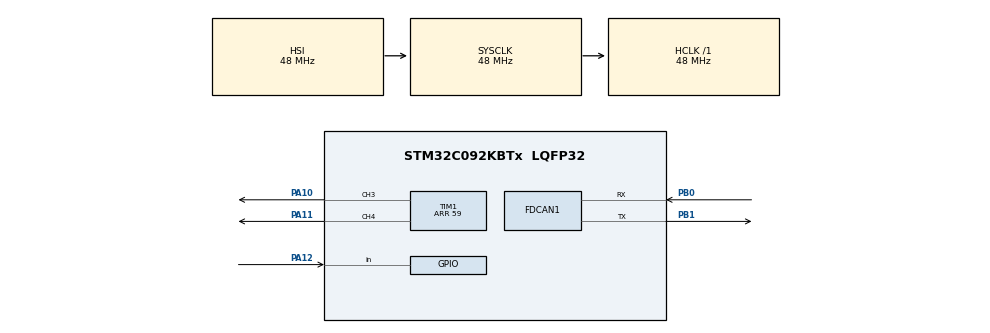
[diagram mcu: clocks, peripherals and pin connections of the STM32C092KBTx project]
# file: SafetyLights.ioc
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Dma.Request0=TIM1_CH3
Dma.Request1=TIM1_CH4
Dma.TIM1_CH3.0.Direction=DMA_MEMORY_TO_PERIPH
Dma.TIM1_CH3.0.EventEnable=DISABLE
Dma.TIM1_CH3.0.Instance=DMA1_Channel1
Dma.TIM1_CH3.0.MemDataAlignment=DMA_MDATAALIGN_BYTE
Dma.TIM1_CH3.0.MemInc=DMA_MINC_ENABLE
Dma.TIM1_CH3.0.Mode=DMA_NORMAL
Dma.TIM1_CH3.0.PeriphDataAlignment=DMA_PDATAALIGN_HALFWORD
Dma.TIM1_CH3.0.PeriphInc=DMA_PINC_DISABLE
Dma.TIM1_CH3.0.Polarity=HAL_DMAMUX_REQ_GEN_RISING
Dma.TIM1_CH3.0.Priority=DMA_PRIORITY_LOW
Dma.TIM1_CH3.0.RequestNumber=1
Dma.TIM1_CH3.0.SignalID=NONE
Dma.TIM1_CH3.0.SyncEnable=DISABLE
Dma.TIM1_CH3.0.SyncPolarity=HAL_DMAMUX_SYNC_NO_EVENT
Dma.TIM1_CH3.0.SyncRequestNumber=1
Dma.TIM1_CH3.0.SyncSignalID=NONE
Dma.TIM1_CH4.1.Direction=DMA_MEMORY_TO_PERIPH
Dma.TIM1_CH4.1.EventEnable=DISABLE
Dma.TIM1_CH4.1.Instance=DMA1_Channel2
Dma.TIM1_CH4.1.MemDataAlignment=DMA_MDATAALIGN_BYTE
Dma.TIM1_CH4.1.MemInc=DMA_MINC_ENABLE
Dma.TIM1_CH4.1.Mode=DMA_NORMAL
Dma.TIM1_CH4.1.PeriphDataAlignment=DMA_PDATAALIGN_HALFWORD
Dma.TIM1_CH4.1.PeriphInc=DMA_PINC_DISABLE
Dma.TIM1_CH4.1.Polarity=HAL_DMAMUX_REQ_GEN_RISING
Dma.TIM1_CH4.1.Priority=DMA_PRIORITY_LOW
Dma.TIM1_CH4.1.RequestNumber=1
Dma.TIM1_CH4.1.SignalID=NONE
Dma.TIM1_CH4.1.SyncEnable=DISABLE
Dma.TIM1_CH4.1.SyncPolarity=HAL_DMAMUX_SYNC_NO_EVENT
Dma.TIM1_CH4.1.SyncRequestNumber=1
Dma.TIM1_CH4.1.SyncSignalID=NONE
FDCAN1.AutoRetransmission=ENABLE
FDCAN1.CalculateBaudRateNominal=125000
FDCAN1.CalculateTimeBitNominal=8000
FDCAN1.CalculateTimeQuantumNominal=1000.0
FDCAN1.NominalPrescaler=48
FDCAN1.NominalSyncJumpWidth=1
FDCAN1.NominalTimeSeg1=5
FDCAN1.NominalTimeSeg2=2
FDCAN1.TxFifoQueueMode=FDCAN_TX_FIFO_OPERATION
Mcu.Family=STM32C0
Mcu.Name=STM32C092KBTx
Mcu.Package=LQFP32
NVIC.DMA1_Channel1_IRQn=true\:0\:0\:false\:false\:true\:false\:true\:true
NVIC.DMA1_Channel2_3_IRQn=true\:0\:0\:false\:false\:true\:false\:true\:true
NVIC.FDCAN1_IT0_IRQn=true\:0\:0\:false\:false\:true\:true\:true\:true
PA10.Signal=S_TIM1_CH3
PA11\ [PA9].Signal=S_TIM1_CH4
PA12\ [PA10].Signal=GPIO_Input
PA13.Mode=Serial_Wire
PA13.Signal=DEBUG_SWDIO
PA14-BOOT0.Mode=Serial_Wire
PA14-BOOT0.Signal=DEBUG_SWCLK
PB0.Mode=FDCAN_Activate
PB0.Signal=FDCAN1_RX
PB1.Mode=FDCAN_Activate
PB1.Signal=FDCAN1_TX
PC14-OSCX_IN(PC14).Signal=RCC_OSCX_IN
PC15-OSCX_OUT(PC15).Signal=RCC_OSCX_OUT
ProjectManager.HeapSize=0x200
ProjectManager.StackSize=0x400
ProjectManager.TargetToolchain=STM32CubeIDE
RCC.ADCFreq_Value=48000000
RCC.AHBFreq_Value=48000000
RCC.CortexFreq_Value=48000000
RCC.EXTERNAL_CLOCK_VALUE=12288000
RCC.HCLKFreq_Value=48000000
RCC.HSE_VALUE=8000000
RCC.HSISYSCLKDivider=RCC_HSI_DIV1
RCC.HSI_VALUE=48000000
RCC.LSE_VALUE=32768
RCC.SYSCLKFreq_VALUE=48000000
SH.S_TIM1_CH3.0=TIM1_CH3,PWM Generation3 CH3
SH.S_TIM1_CH4.0=TIM1_CH4,PWM Generation4 CH4
TIM1.Channel-PWM\ Generation3\ CH3=TIM_CHANNEL_3
TIM1.Channel-PWM\ Generation4\ CH4=TIM_CHANNEL_4
TIM1.Period=59
board=custom

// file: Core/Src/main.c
/* USER CODE BEGIN Header */
/**
 ******************************************************************************
 * @file           : main.c
 * @brief          : Main program body
 ******************************************************************************
 * @attention
 *
 * Copyright (c) 2026 STMicroelectronics.
 * All rights reserved.
 *
 * This software is licensed under terms that can be found in the LICENSE file
 * in the root directory of this software component.
 * If no LICENSE file comes with this software, it is provided AS-IS.
 *
 ******************************************************************************
 */
/* USER CODE END Header */
#include "main.h"
#include "dma.h"
#include "fdcan.h"
#include "tim.h"
#include "gpio.h"

/* USER CODE BEGIN Includes */
#include "ws28xx.h"
/* USER CODE END Includes */

/* USER CODE BEGIN PTD */

#define NUM_LEDS 144

// Global brightness scalar (0–255). 128 = 50%.
static uint8_t g_brightness = 128;

static inline uint8_t scale(uint8_t val) {
    return (uint8_t)((uint32_t)val * g_brightness / 255);
}

// ---------------------------------------------------------------------------
// CAN frame: 1 byte — the mode index.
// ---------------------------------------------------------------------------
typedef enum {
    // Core operating states
    MODE_DISABLED          = 0,   // Solid orange, both strips
    MODE_MANUAL            = 1,   // Solid green, both strips
    MODE_AUTO_ENABLED      = 2,   // White, alternating blink (A then B)
    MODE_AUTO_DISABLED     = 3,   // Solid blue, both strips

    // Override states
    MODE_LOW_POWER         = 4,   // Slow red blink, both strips in sync

    // Navigation signals (autonomous)
    MODE_TURN_LEFT         = 5,   // Left: amber blink  Right: white blink (alternating)
    MODE_TURN_RIGHT        = 6,   // Left: white blink  Right: amber blink (alternating)
    MODE_WAYPOINT_REACHED  = 7,   // Cyan, both blink in sync
    MODE_WAYPOINT_FOLLOW   = 8,   // Purple, alternating blink

    // System states
    MODE_BOOTING           = 9,   // Blue-violet-cyan rain chase (strips run opposite dirs)
    MODE_SHUTDOWN          = 10,  // White pixels extinguish from both ends toward center

    MODE_COUNT
} SafetyLightsMode;

// Volatile: written in CAN ISR, read in main loop.
static volatile SafetyLightsMode g_mode = MODE_BOOTING;

/* USER CODE END PTD */

/* USER CODE BEGIN PV */
WS28XX_HandleTypeDef ws28xx_a;
WS28XX_HandleTypeDef ws28xx_b;
/* USER CODE END PV */

void SystemClock_Config(void);

/* USER CODE BEGIN 0 */

// ---------------------------------------------------------------------------
// Strip helpers
// ---------------------------------------------------------------------------

static void wait_for_strip(WS28XX_HandleTypeDef *ws, uint32_t dma_id) {
    while (ws->hTim->hdma[dma_id]->State != HAL_DMA_STATE_READY);
    while (ws->hTim->State != HAL_TIM_STATE_READY);
    HAL_Delay(1);
}

static void update_both_strips(void) {
    wait_for_strip(&ws28xx_a, TIM_DMA_ID_CC3);
    wait_for_strip(&ws28xx_b, TIM_DMA_ID_CC4);
    WS28XX_Update(&ws28xx_a);
    WS28XX_Update(&ws28xx_b);
    wait_for_strip(&ws28xx_a, TIM_DMA_ID_CC3);
    wait_for_strip(&ws28xx_b, TIM_DMA_ID_CC4);
}

static void set_pixel_a(uint16_t i, uint8_t r, uint8_t g, uint8_t b) {
    WS28XX_SetPixel_RGB(&ws28xx_a, i, scale(r), scale(g), scale(b));
}

static void set_pixel_b(uint16_t i, uint8_t r, uint8_t g, uint8_t b) {
    WS28XX_SetPixel_RGB(&ws28xx_b, i, scale(r), scale(g), scale(b));
}

static void fill_a(uint8_t r, uint8_t g, uint8_t b) {
    for (uint16_t i = 0; i < NUM_LEDS; i++) set_pixel_a(i, r, g, b);
}

static void fill_b(uint8_t r, uint8_t g, uint8_t b) {
    for (uint16_t i = 0; i < NUM_LEDS; i++) set_pixel_b(i, r, g, b);
}

static void fill_both(uint8_t r, uint8_t g, uint8_t b) {
    fill_a(r, g, b);
    fill_b(r, g, b);
}

// ---------------------------------------------------------------------------
// E-STOP — hardwired, cannot be overridden by any mode or CAN message.
// ---------------------------------------------------------------------------
static void mode_estopped(void) {
    fill_both(255, 255, 255);
    update_both_strips();
}

// ---------------------------------------------------------------------------
// MODE_DISABLED — solid orange
// ---------------------------------------------------------------------------
static void mode_disabled(void) {
    fill_both(255, 80, 0);
    update_both_strips();
}

// ---------------------------------------------------------------------------
// MODE_MANUAL — solid green
// ---------------------------------------------------------------------------
static void mode_manual(void) {
    fill_both(0, 200, 0);
    update_both_strips();
}

// ---------------------------------------------------------------------------
// MODE_AUTO_DISABLED — solid blue
// ---------------------------------------------------------------------------
static void mode_auto_disabled(void) {
    fill_both(0, 80, 255);
    update_both_strips();
}

// ---------------------------------------------------------------------------
// Alternating-blink core.
//   When phase==0:  strip_on  = color,  strip_off = black
//   When phase==1:  strip_on  = black,  strip_off = color
//
// on_strip / off_strip pointers flip each half-cycle.
// period_ms = full cycle length; half is on, half is off per strip.
// ---------------------------------------------------------------------------
static void alternating_blink(
    uint8_t  a_r, uint8_t  a_g, uint8_t  a_b,   // color for strip A
    uint8_t  b_r, uint8_t  b_g, uint8_t  b_b,   // color for strip B
    uint32_t period_ms)
{
    static uint8_t  phase       = 0;
    static uint32_t last_toggle = 0;

    uint32_t now = HAL_GetTick();
    uint32_t half = period_ms / 2;

    if ((now - last_toggle) >= half) {
        phase       = !phase;
        last_toggle = now;

        if (phase == 0) {
            // A on, B off
            fill_a(a_r, a_g, a_b);
            fill_b(0, 0, 0);
        } else {
            // A off, B on
            fill_a(0, 0, 0);
            fill_b(b_r, b_g, b_b);
        }

        update_both_strips();
    }
}

// ---------------------------------------------------------------------------
// Synchronised blink — both strips same color, on/off together.
// ---------------------------------------------------------------------------
static void sync_blink(uint8_t r, uint8_t g, uint8_t b, uint32_t period_ms) {
    static uint8_t  on          = 1;
    static uint32_t last_toggle = 0;

    uint32_t now  = HAL_GetTick();
    uint32_t half = period_ms / 2;

    if ((now - last_toggle) >= half) {
        on          = !on;
        last_toggle = now;

        if (on) {
            fill_both(r, g, b);
        } else {
            fill_both(0, 0, 0);
        }

        update_both_strips();
    }
}

// ---------------------------------------------------------------------------
// MODE_AUTO_ENABLED — white, alternating strips, ~1.4 s cycle
// ---------------------------------------------------------------------------
static void mode_auto_enabled(void) {
    alternating_blink(255, 255, 255,
                      255, 255, 255,
                      1400);
}

// ---------------------------------------------------------------------------
// MODE_LOW_POWER — slow red sync blink, ~2 s cycle
// ---------------------------------------------------------------------------
static void mode_low_power(void) {
    sync_blink(220, 0, 0, 2000);
}

// ---------------------------------------------------------------------------
// MODE_TURN_LEFT — left strip amber blink, right strip white blink, alternating
// ---------------------------------------------------------------------------
static void mode_turn_left(void) {
    // Amber on A, white on B — alternate each half-cycle
    alternating_blink(255, 165, 0,    // A = amber
                      255, 255, 255,  // B = white
                      700);
}

// ---------------------------------------------------------------------------
// MODE_TURN_RIGHT — left strip white blink, right strip amber blink, alternating
// ---------------------------------------------------------------------------
static void mode_turn_right(void) {
    alternating_blink(255, 255, 255,  // A = white
                      255, 165, 0,    // B = amber
                      700);
}

// ---------------------------------------------------------------------------
// MODE_WAYPOINT_REACHED — cyan sync blink, ~3 s handled by software
// ---------------------------------------------------------------------------
static void mode_waypoint_reached(void) {
    sync_blink(0, 200, 210, 600);
}

// ---------------------------------------------------------------------------
// MODE_WAYPOINT_FOLLOW — purple alternating blink
// ---------------------------------------------------------------------------
static void mode_waypoint_follow(void) {
    alternating_blink(160, 32, 240,   // A = purple
                      160, 32, 240,   // B = purple
                      700);
}

// ---------------------------------------------------------------------------
// MODE_BOOTING — blue-violet-cyan rain chase.
//   Strip A chases forward (LED 0 → 143).
//   Strip B chases backward (LED 143 → 0).
//   Three hues cycle through the tail: blue → violet → cyan.
// ---------------------------------------------------------------------------

#define BOOT_TAIL_LEN  40
#define BOOT_STEP_MS   8   // ms per frame

// Returns one of three hues along the tail based on position.
static void boot_hue(uint16_t tail_pos, uint8_t *r, uint8_t *g, uint8_t *b) {
    // tail_pos: 0 = tip (brightest), BOOT_TAIL_LEN-1 = end (dimmest)
    uint8_t segment = (uint8_t)(tail_pos * 3 / BOOT_TAIL_LEN); // 0, 1, or 2
    switch (segment) {
        case 0:  *r = 0;   *g = 150; *b = 255; break; // blue
        case 1:  *r = 120; *g = 0;   *b = 255; break; // violet
        default: *r = 0;   *g = 230; *b = 200; break; // cyan
    }
}

static void mode_booting(void) {
    static uint16_t head      = 0;
    static uint32_t last_step = 0;

    uint32_t now = HAL_GetTick();
    if ((now - last_step) < BOOT_STEP_MS) return;
    last_step = now;

    fill_both(0, 0, 0);

    for (uint16_t t = 0; t < BOOT_TAIL_LEN; t++) {
        uint8_t bright = (uint8_t)(255 - (uint32_t)t * 255 / BOOT_TAIL_LEN);

        uint8_t hr, hg, hb;
        boot_hue(t, &hr, &hg, &hb);

        uint8_t pr = (uint8_t)((uint32_t)hr * bright / 255);
        uint8_t pg = (uint8_t)((uint32_t)hg * bright / 255);
        uint8_t pb = (uint8_t)((uint32_t)hb * bright / 255);

        // Strip A: forward chase
        uint16_t pos_a = (head + NUM_LEDS - t) % NUM_LEDS;
        set_pixel_a(pos_a, pr, pg, pb);

        // Strip B: reverse chase (mirror)
        uint16_t pos_b = (NUM_LEDS - 1 - head + t) % NUM_LEDS;
        set_pixel_b(pos_b, pr, pg, pb);
    }

    update_both_strips();
    head = (head + 1) % NUM_LEDS;
}

// ---------------------------------------------------------------------------
// MODE_SHUTDOWN — white pixels extinguish from both ends toward center.
//   Full cycle plays once, then holds dark.  Software should send a new mode
//   before or immediately after issuing the reboot command.
// ---------------------------------------------------------------------------

#define SHUTDOWN_STEP_MS 12  // ms per LED extinguished

static void mode_shutdown(void) {
    static int16_t  front     = 0;           // sweeps 0 → NUM_LEDS/2
    static uint32_t last_step = 0;
    static uint8_t  done      = 0;

    // Reset state whenever the mode is freshly entered
    // (handled by the mode-change detection in main)

    uint32_t now = HAL_GetTick();

    if (done) {
        // Hold dark
        fill_both(0, 0, 0);
        update_both_strips();
        return;
    }

    if ((now - last_step) >= SHUTDOWN_STEP_MS) {
        last_step = now;

        if (front == 0) {
            // First call: fill everything white
            fill_both(255, 255, 255);
        }

        // Extinguish one LED from each end
        uint16_t left  = (uint16_t)front;
        uint16_t right = (uint16_t)(NUM_LEDS - 1 - front);

        set_pixel_a(left,  0, 0, 0);
        set_pixel_a(right, 0, 0, 0);
        set_pixel_b(left,  0, 0, 0);
        set_pixel_b(right, 0, 0, 0);

        update_both_strips();

        front++;
        if (front >= (int16_t)(NUM_LEDS / 2)) {
            done = 1;
        }
    }
}

// Call this when the mode transitions TO shutdown so the animation restarts.
static void reset_shutdown(void) {
    // The static locals inside mode_shutdown can't be reset from outside,
    // so we use a small one-shot flag communicated via a file-scope variable.
    // Simplest approach: just re-initialise by driving the statics via an
    // exported reset function using a flag.
    //
    // Implementation: we expose a file-scope flag that mode_shutdown checks.
}

// Cleaner approach — lifted statics into file scope so reset_shutdown works:
static int16_t  g_sd_front     = 0;
static uint32_t g_sd_last_step = 0;
static uint8_t  g_sd_done      = 0;

static void mode_shutdown_reset(void) {
    g_sd_front     = 0;
    g_sd_last_step = 0;
    g_sd_done      = 0;
}

// Replaces the static-local version above.
static void mode_shutdown_run(void) {
    uint32_t now = HAL_GetTick();

    if (g_sd_done) {
        // Hold dark — no further updates needed
        return;
    }

    if ((now - g_sd_last_step) >= SHUTDOWN_STEP_MS) {
        g_sd_last_step = now;

        if (g_sd_front == 0) {
            fill_both(255, 255, 255);
        }

        uint16_t left  = (uint16_t)g_sd_front;
        uint16_t right = (uint16_t)(NUM_LEDS - 1 - g_sd_front);

        set_pixel_a(left,  0, 0, 0);
        set_pixel_a(right, 0, 0, 0);
        set_pixel_b(left,  0, 0, 0);
        set_pixel_b(right, 0, 0, 0);

        update_both_strips();

        g_sd_front++;
        if (g_sd_front >= (int16_t)(NUM_LEDS / 2)) {
            g_sd_done = 1;
        }
    }
}

/* USER CODE END 0 */

// ---------------------------------------------------------------------------
// Application entry point
// ---------------------------------------------------------------------------
int main(void) {

    HAL_Init();
    SystemClock_Config();

    MX_GPIO_Init();
    MX_DMA_Init();
    MX_FDCAN1_Init();
    MX_TIM1_Init();

    WS28XX_Init(&ws28xx_a, &htim1, 48, TIM_CHANNEL_3, NUM_LEDS);
    WS28XX_Init(&ws28xx_b, &htim1, 48, TIM_CHANNEL_4, NUM_LEDS);

    HAL_Delay(10);
    __HAL_TIM_MOE_ENABLE(&htim1);

    if (HAL_FDCAN_Start(&hfdcan1) != HAL_OK) {
        Error_Handler();
    }

    FDCAN_FilterTypeDef FilterConfig;
    FilterConfig.IdType       = FDCAN_STANDARD_ID;
    FilterConfig.FilterIndex  = 0;
    FilterConfig.FilterType   = FDCAN_FILTER_MASK;
    FilterConfig.FilterConfig = FDCAN_FILTER_TO_RXFIFO0;
    FilterConfig.FilterID1    = 0x014;
    FilterConfig.FilterID2    = 0x7FF;
    if (HAL_FDCAN_ConfigFilter(&hfdcan1, &FilterConfig) != HAL_OK) {
        Error_Handler();
    }

    HAL_FDCAN_ConfigGlobalFilter(&hfdcan1,
        FDCAN_REJECT, FDCAN_REJECT,
        FDCAN_REJECT_REMOTE, FDCAN_REJECT_REMOTE);
    HAL_FDCAN_ActivateNotification(&hfdcan1, FDCAN_IT_RX_FIFO0_NEW_MESSAGE, 0);

    SafetyLightsMode prev_mode = MODE_COUNT; // sentinel — force first-run init

    while (1) {
        // E-stop is unconditional and cannot be overridden.
        if (!HAL_GPIO_ReadPin(GPIOA, GPIO_PIN_12)) {
            mode_estopped();
            prev_mode = MODE_COUNT; // reset so next mode re-initialises cleanly
            continue;
        }

        SafetyLightsMode mode = g_mode;

        // Detect mode transitions so animated modes can reset their state.
        if (mode != prev_mode) {
            if (mode == MODE_SHUTDOWN) {
                mode_shutdown_reset();
            }
            // alternating_blink and sync_blink use shared statics; resetting
            // their phase on every mode change avoids a stale half-cycle offset.
            // They self-correct within one half-period anyway, but a hard reset
            // gives a crisper visual on entry.  We do this by simply letting
            // their internal last_toggle expire (they will fire on the very next
            // call because now - 0 > any period).  No explicit reset needed.
            prev_mode = mode;
        }

        switch (mode) {
            case MODE_DISABLED:         mode_disabled();         break;
            case MODE_MANUAL:           mode_manual();           break;
            case MODE_AUTO_ENABLED:     mode_auto_enabled();     break;
            case MODE_AUTO_DISABLED:    mode_auto_disabled();    break;
            case MODE_LOW_POWER:        mode_low_power();        break;
            case MODE_TURN_LEFT:        mode_turn_left();        break;
            case MODE_TURN_RIGHT:       mode_turn_right();       break;
            case MODE_WAYPOINT_REACHED: mode_waypoint_reached(); break;
            case MODE_WAYPOINT_FOLLOW:  mode_waypoint_follow();  break;
            case MODE_BOOTING:          mode_booting();          break;
            case MODE_SHUTDOWN:         mode_shutdown_run();     break;
            default:                    mode_booting();          break;
        }
    }
}

// ---------------------------------------------------------------------------
// System clock
// ---------------------------------------------------------------------------
void SystemClock_Config(void) {
    RCC_OscInitTypeDef RCC_OscInitStruct = {0};
    RCC_ClkInitTypeDef RCC_ClkInitStruct = {0};

    __HAL_FLASH_SET_LATENCY(FLASH_LATENCY_1);

    RCC_OscInitStruct.OscillatorType      = RCC_OSCILLATORTYPE_HSI;
    RCC_OscInitStruct.HSIState            = RCC_HSI_ON;
    RCC_OscInitStruct.HSIDiv              = RCC_HSI_DIV1;
    RCC_OscInitStruct.HSICalibrationValue = RCC_HSICALIBRATION_DEFAULT;
    if (HAL_RCC_OscConfig(&RCC_OscInitStruct) != HAL_OK) Error_Handler();

    RCC_ClkInitStruct.ClockType      = RCC_CLOCKTYPE_HCLK | RCC_CLOCKTYPE_SYSCLK | RCC_CLOCKTYPE_PCLK1;
    RCC_ClkInitStruct.SYSCLKSource   = RCC_SYSCLKSOURCE_HSI;
    RCC_ClkInitStruct.SYSCLKDivider  = RCC_SYSCLK_DIV1;
    RCC_ClkInitStruct.AHBCLKDivider  = RCC_HCLK_DIV1;
    RCC_ClkInitStruct.APB1CLKDivider = RCC_APB1_DIV1;
    if (HAL_RCC_ClockConfig(&RCC_ClkInitStruct, FLASH_LATENCY_1) != HAL_OK) Error_Handler();
}

// ---------------------------------------------------------------------------
// CAN RX — 1-byte frame: mode index only.
// ---------------------------------------------------------------------------
void HAL_FDCAN_RxFifo0Callback(FDCAN_HandleTypeDef *hfdcan, uint32_t RxFifo0ITs) {
    FDCAN_RxHeaderTypeDef RxHeader;
    uint8_t RxData[8];

    if (!(RxFifo0ITs & FDCAN_IT_RX_FIFO0_NEW_MESSAGE)) return;
    if (HAL_FDCAN_GetRxMessage(hfdcan, FDCAN_RX_FIFO0, &RxHeader, RxData) != HAL_OK) return;
    if (RxHeader.Identifier != 0x14) return;

    uint8_t requested = RxData[0];
    if (requested < MODE_COUNT) {
        g_mode = (SafetyLightsMode)requested;
    }
    // Bytes 1–7 are ignored — all parameters are baked into the firmware.
}

// ---------------------------------------------------------------------------
// Error handler
// ---------------------------------------------------------------------------
void Error_Handler(void) {
    __disable_irq();
    while (1) {}
}
